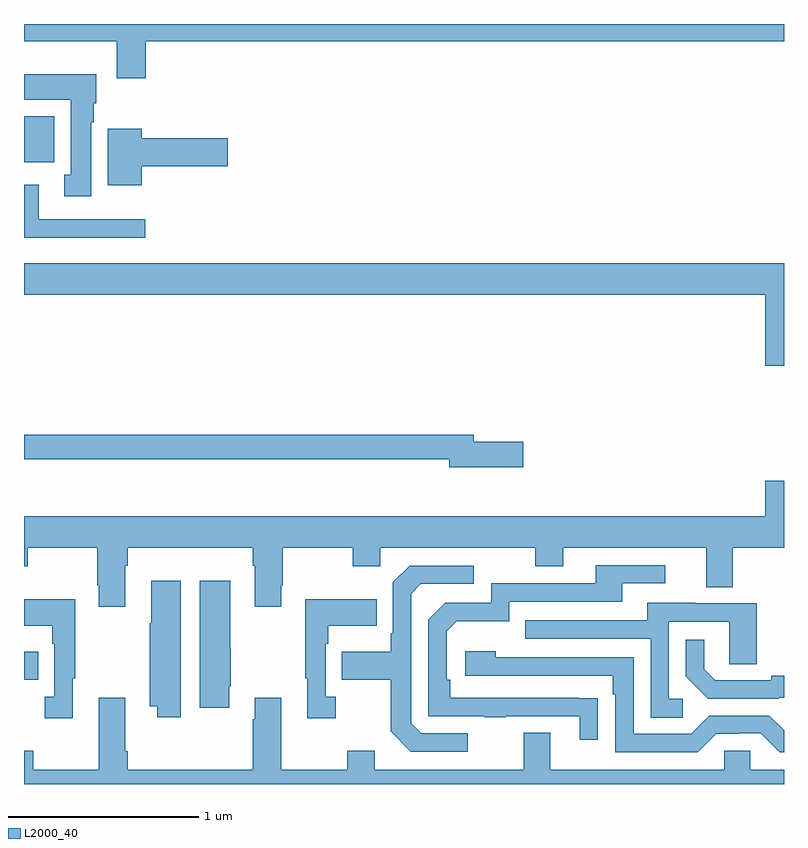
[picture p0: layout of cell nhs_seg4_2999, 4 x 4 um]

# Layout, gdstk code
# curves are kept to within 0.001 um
import gdstk
lib = gdstk.Library(unit=1e-6, precision=1e-09)
def R(c, l, rs):  # rectangles x0, y0, x1, y1
    for r in rs: c.add(gdstk.rectangle(r[:2], r[2:], *l))
def P(c, l, *ps):  # polygons
    for p in ps: c.add(gdstk.Polygon(p, *l))
L2000_40 = (2000, 40)

nhs_seg4_2999 = lib.new_cell('nhs_seg4_2999')
R(nhs_seg4_2999, L2000_40, [(269,805.45,269.075,805.597), (269,808.172,269.158,808.414)])
P(nhs_seg4_2999, L2000_40, [(269.642,808.808),(273,808.808),(273,808.9),(269,808.9),(269,808.808),(269.489,808.808),(269.489,808.614),(269.642,808.614)],
  [(269.353,808.382),(269.368,808.382),(269.368,808.482),(269.38,808.482),(269.38,808.636),(269,808.636),(269,808.502),(269.246,808.502),(269.246,808.106),(269.213,808.106),(269.213,807.993),(269.353,807.993)],
  [(269.62,808.151),(270.073,808.151),(270.073,808.298),(269.62,808.298),(269.62,808.348),(269.441,808.348),(269.441,808.052),(269.62,808.052)],
  [(269.638,807.873),(269.077,807.873),(269.077,808.053),(269,808.053),(269,807.776),(269.638,807.776)],
  [(273,807.64),(269,807.64),(269,807.476),(272.9,807.476),(272.9,807.102),(273,807.102)],
  [(271.627,806.702),(271.366,806.702),(271.366,806.738),(269,806.738),(269,806.61),(271.238,806.61),(271.238,806.567),(271.627,806.567)],
  [(269.533,806.048),(269.546,806.048),(269.546,806.144),(270.203,806.144),(270.203,806.048),(270.215,806.048),(270.215,805.833),(270.355,805.833),(270.355,805.945),(270.363,805.945),(270.363,806.144),(270.73,806.144),(270.73,806.045),(270.876,806.045),(270.876,806.144),(271.69,806.144),(271.69,806.045),(271.837,806.045),(271.837,806.144),(272.591,806.144),(272.591,805.936),(272.731,805.936),(272.731,806.144),(273,806.144),(273,806.497),(272.9,806.497),(272.9,806.308),(269,806.308),(269,806.045),(269.019,806.045),(269.019,806.144),(269.386,806.144),(269.386,805.945),(269.393,805.945),(269.393,805.833),(269.533,805.833)],
  [(272.021,805.352),(271.244,805.353),(271.244,805.45),(271.224,805.45),(271.224,805.704),(271.277,805.757),(271.554,805.757),(271.554,805.86),(272.149,805.86),(272.149,805.956),(272.374,805.956),(272.374,806.052),(272.009,806.052),(272.009,805.956),(271.458,805.956),(271.458,805.854),(271.218,805.854),(271.128,805.764),(271.128,805.257),(271.423,805.257),(271.423,805.252),(271.535,805.252),(271.535,805.257),(271.925,805.257),(271.925,805.134),(272.021,805.134)],
  [(271.336,805.167),(271.092,805.167),(271.038,805.221),(271.038,805.902),(271.089,805.953),(271.366,805.953),(271.366,806.049),(271.029,806.049),(270.942,805.962),(270.942,805.693),(270.93,805.693),(270.93,805.597),(270.673,805.597),(270.673,805.45),(270.93,805.45),(270.93,805.177),(271.035,805.071),(271.336,805.071)],
  [(270.079,805.414),(270.087,805.414),(270.087,805.614),(270.085,805.614),(270.085,805.969),(269.924,805.969),(269.924,805.302),(270.079,805.302)],
  [(269.824,805.969),(269.669,805.969),(269.669,805.745),(269.662,805.745),(269.662,805.31),(269.702,805.31),(269.702,805.251),(269.824,805.251)],
  [(270.64,805.358),(270.588,805.358),(270.588,805.637),(270.601,805.637),(270.601,805.733),(270.857,805.733),(270.857,805.873),(270.48,805.873),(270.48,805.457),(270.491,805.457),(270.491,805.245),(270.64,805.245)],
  [(269.257,805.457),(269.269,805.457),(269.269,805.873),(269,805.873),(269,805.733),(269.148,805.733),(269.148,805.637),(269.16,805.637),(269.16,805.358),(269.109,805.358),(269.109,805.245),(269.257,805.245)],
  [(272.467,805.35),(272.394,805.35),(272.394,805.755),(272.712,805.755),(272.712,805.531),(272.857,805.531),(272.857,805.851),(272.533,805.851),(272.533,805.855),(272.279,805.855),(272.279,805.761),(271.639,805.761),(271.639,805.665),(272.298,805.665),(272.298,805.249),(272.467,805.249)],
  [(272.972,805.353),(273,805.353),(273,805.469),(272.933,805.469),(272.933,805.446),(272.638,805.446),(272.581,805.503),(272.581,805.66),(272.484,805.66),(272.484,805.466),(272.6,805.35),(272.972,805.35)],
  [(273,805.182),(272.922,805.26),(272.607,805.26),(272.511,805.164),(272.208,805.164),(272.208,805.566),(271.484,805.566),(271.484,805.6),(271.323,805.6),(271.323,805.47),(272.099,805.47),(272.099,805.373),(272.112,805.373),(272.112,805.068),(272.547,805.068),(272.643,805.164),(272.762,805.164),(272.762,805.167),(272.877,805.167),(272.977,805.067),(273,805.067)],
  [(273,804.976),(272.823,804.976),(272.823,805.074),(272.685,805.074),(272.685,804.976),(271.771,804.976),(271.771,805.171),(271.631,805.171),(271.631,804.976),(270.847,804.976),(270.847,805.075),(270.7,805.075),(270.7,804.976),(270.355,804.976),(270.355,805.354),(270.215,805.354),(270.215,805.241),(270.203,805.241),(270.203,804.976),(269.546,804.976),(269.546,805.072),(269.533,805.072),(269.533,805.354),(269.393,805.354),(269.393,804.976),(269.049,804.976),(269.049,805.075),(269,805.075),(269,804.9),(273,804.9)])

lib.write_gds('nhs_seg4_2999.gds')
